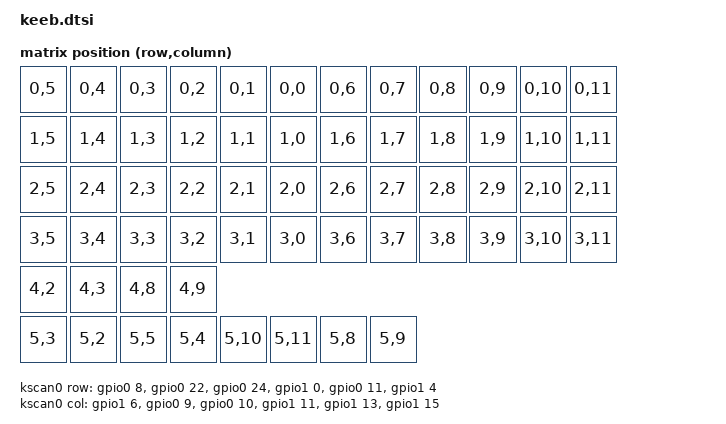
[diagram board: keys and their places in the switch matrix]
#include <dt-bindings/gpio/gpio.h>
#include <dt-bindings/pinctrl/nrf-pinctrl.h>
#include <dt-bindings/pwm/pwm.h>
#include <dt-bindings/regulator/nrf5x.h>
#include <dt-bindings/zmk/matrix_transform.h>

#include <keeb-positions.dtsi>

/ {
	chosen {
		zephyr,display = &nice_view;
		zmk,kscan = &kscan0;
		zmk,matrix-transform = &default_transform;
    zmk,battery = &vbatt;
	};

    vbatt: vbatt {
        compatible = "zmk,battery-nrf-vddh";
        label = "BATTERY";
    };

	default_transform: keymap_transform_0 {
		compatible = "zmk,matrix-transform";
		columns = <12>;
		rows = <6>;
		/* Key positions are named in dts/keeb-positions.dtsi; this map is what
		 * defines those numbers, so keep the two in step - app/scripts/gen-contract.mjs
		 * checks every named group against this map, so a name that stops matching
		 * the wiring fails the build instead of silently rebinding another key.
		 *
		 * A row's line may list fewer than 12 entries: an unlisted grid slot has no
		 * switch and no keymap position. Each keymap layer must carry exactly as many
		 * bindings as this map has RC() entries (ZMK_KEYMAP_LEN, see matrix.h).
		 * Global columns: left half 0-5, right half 6-11 (keeb_right.overlay adds
		 * col-offset 6). Each half numbers its own columns 0-5 the same way, so a
		 * key's mirror on the other half is the same local column: global c on the
		 * left, c+6 on the right. Every row here obeys that - alpha 0-5, the extras
		 * 2-3, the thumb cluster 2-5, on both halves.
		 *   rows 0-3   full alpha grid, both halves
		 *   row  4     2 extra keys per half, local cols 2-3
		 *   row  5     thumb cluster, local cols 2-5
		 * Board column numbering grows toward the split on the left half and away
		 * from it on the right: left positions 0-5 map to cols 5-0 (outer key at
		 * position 0, col 5; the key next to the split, position 5, col 0), right
		 * positions 6-11 map to cols 6-11 (position 6, col 6, next to the split,
		 * position 11, col 11, outermost). The keymap drawing therefore reads
		 * left-to-right across the board: position 0 far left, 6 the right half's
		 * innermost key, 11 far right. Reversing a half's columns here mirrors that
		 * half on the board and in the configurator while keeping the mirror checks
		 * happy - the position sets stay the same, only the order of the keys
		 * changes. */
		map = <
			RC(0,5) RC(0,4) RC(0,3) RC(0,2) RC(0,1) RC(0,0)   RC(0,6) RC(0,7) RC(0,8)  RC(0,9)  RC(0,10) RC(0,11)
			RC(1,5) RC(1,4) RC(1,3) RC(1,2) RC(1,1) RC(1,0)   RC(1,6) RC(1,7) RC(1,8)  RC(1,9)  RC(1,10) RC(1,11)
			RC(2,5) RC(2,4) RC(2,3) RC(2,2) RC(2,1) RC(2,0)   RC(2,6) RC(2,7) RC(2,8)  RC(2,9)  RC(2,10) RC(2,11)
			RC(3,5) RC(3,4) RC(3,3) RC(3,2) RC(3,1) RC(3,0)   RC(3,6) RC(3,7) RC(3,8)  RC(3,9)  RC(3,10) RC(3,11)
			RC(4,2) RC(4,3)   RC(4,8) RC(4,9)
			RC(5,3) RC(5,2) RC(5,5) RC(5,4)   RC(5,10) RC(5,11) RC(5,8) RC(5,9)
		>;
	};

kscan0: kscan {
		compatible = "zmk,kscan-gpio-matrix";
		diode-direction = "col2row";
		wakeup-source;
		row-gpios =
			<&gpio0  8 (GPIO_ACTIVE_HIGH | GPIO_PULL_DOWN)>,  /* D0  */
			<&gpio0 22 (GPIO_ACTIVE_HIGH | GPIO_PULL_DOWN)>,  /* D4  */
			<&gpio0 24 (GPIO_ACTIVE_HIGH | GPIO_PULL_DOWN)>,  /* D5  */
			<&gpio1  0 (GPIO_ACTIVE_HIGH | GPIO_PULL_DOWN)>,  /* D6  */
			<&gpio0 11 (GPIO_ACTIVE_HIGH | GPIO_PULL_DOWN)>,  /* D7  */
			<&gpio1  4 (GPIO_ACTIVE_HIGH | GPIO_PULL_DOWN)>;  /* D8  */
		col-gpios =
			<&gpio1  6 GPIO_ACTIVE_HIGH>,  /* D9  */
			<&gpio0  9 GPIO_ACTIVE_HIGH>,  /* D10 */
			<&gpio0 10 GPIO_ACTIVE_HIGH>,  /* D16 */
			<&gpio1 11 GPIO_ACTIVE_HIGH>,  /* D14 */
			<&gpio1 13 GPIO_ACTIVE_HIGH>,  /* D15 */
			<&gpio1 15 GPIO_ACTIVE_HIGH>;  /* D18 */
	};

status_leds: status_leds {
		compatible = "pwm-leds";

		led_r: led_r {
			/* instance channel, period, polarity (common cathode -> active high) */
			pwms = <&pwm1 0 PWM_USEC(2000) PWM_POLARITY_NORMAL>;  /* D19/A1 = P0.02 */
		};
		led_g: led_g {
			pwms = <&pwm1 1 PWM_USEC(2000) PWM_POLARITY_NORMAL>;  /* D20/A2 = P0.29 */
		};
		led_b: led_b {
			pwms = <&pwm1 2 PWM_USEC(2000) PWM_POLARITY_NORMAL>;  /* D21/A3 = P0.31 */
		};
	};

	status_led_device: status_led_device {
		compatible = "zmk,status-led";
		led-r = <&led_r>;
		led-g = <&led_g>;
		led-b = <&led_b>;
	};

	behaviors {
	layer_art: la {
			compatible = "keeb,layer-art";
			#binding-cells = <1>;
			display-name = "Layer Art";
		};

		/* Not a key: nothing in the keymap or in the engine's token list
		 * references it. The central invokes this behaviour so the other half
		 * applies the same idle/sleep timeouts it just applied to itself - see
		 * settings/behavior_keeb_timeouts.c. Its name is the string the split
		 * payload carries, so it stays under 16 bytes. */
		/* Neither is this one: the central invokes it once a second so the
		 * other half's panel can show what only the central knows - typing
		 * rate, active BLE profile, host link signal. param1 = words per
		 * minute, param2 = profile index | count << 8 | rssi % << 16
		 * (see ui/layer_sync.c for the packing).
		 *
		 * The node name is the string the split payload carries and that
		 * payload has room for 8 characters (ZMK_SPLIT_RUN_BEHAVIOR_DEV_LEN
		 * is 9, NUL included) - "keeb_stat" was silently truncated to
		 * "keeb_sta" and every push was refused. Keep it short. */
		uistat: uistat {
			compatible = "keeb,ui-stat";
			#binding-cells = <2>;
			display-name = "UI Stat";
		};

		keeb_tmo: keeb_tmo {
			compatible = "keeb,timeouts";
			#binding-cells = <0>;
		};

		/* Not a key either: the central invokes it to ship the other half's
		 * panel table, two 32-bit words per invocation (ui/panel_stream.h).
		 * The node name is the string the split payload carries, so keep it
		 * short - the label is allowed to be longer than the name. */
		panel_relay: panel {
			compatible = "keeb,panel";
			#binding-cells = <2>;
		};

	right_reset: right_reset {
			compatible = "keeb,remote-reset";
			target = <&sys_reset>;
			#binding-cells = <0>;
			display-name = "Right Half Reset";
		};

		right_boot: right_boot {
			compatible = "keeb,remote-reset";
			target = <&bootloader>;
			#binding-cells = <0>;
			display-name = "Right Half Bootloader";
		};

	buzzer_reset: buzzer_reset {
			compatible = "zmk,behavior-buzzer";
			target = <&sys_reset>;
			#binding-cells = <0>;
			display-name = "Buzz Then Reset";
		};

		buzzer_boot: buzzer_boot {
			compatible = "zmk,behavior-buzzer";
			target = <&bootloader>;
			tune = "bootloader";
			#binding-cells = <0>;
			display-name = "Buzz Then Bootloader";
		};
	};
};

&pinctrl {
	status_led_pwm_default: status_led_pwm_default {
		group1 {
			psels = <NRF_PSEL(PWM_OUT0, 0, 2)>,   /* R  D19/A1 = P0.02 */
				<NRF_PSEL(PWM_OUT1, 0, 29)>,  /* G  D20/A2 = P0.29 */
				<NRF_PSEL(PWM_OUT2, 0, 31)>;  /* B  D21/A3 = P0.31 */
		};
	};

	status_led_pwm_sleep: status_led_pwm_sleep {
		group1 {
			psels = <NRF_PSEL(PWM_OUT0, 0, 2)>,
				<NRF_PSEL(PWM_OUT1, 0, 29)>,
				<NRF_PSEL(PWM_OUT2, 0, 31)>;
			low-power-enable;
		};
	};
};

&pwm1 {
	status = "okay";
	pinctrl-0 = <&status_led_pwm_default>;
	pinctrl-1 = <&status_led_pwm_sleep>;
	pinctrl-names = "default", "sleep";
};

&uart0 {
	status = "disabled";
};

&i2c0 {
	status = "disabled";
};

&adc {
	status = "okay";
};

&zephyr_udc0 {
	board_cdc_acm_uart: board_cdc_acm_uart {
		compatible = "zephyr,cdc-acm-uart";
	};
};

/ {
	chosen {
		zephyr,console = &board_cdc_acm_uart;
		zephyr,shell-uart = &board_cdc_acm_uart;
	};
};

&reg0 {
	status = "disabled";
};

&reg1 {
	regulator-initial-mode = <NRF5X_REG_MODE_LDO>;
};

&pinctrl {
	spi0_default: spi0_default {
		group1 {
			psels = <NRF_PSEL(SPIM_SCK, 0, 20)>,
				<NRF_PSEL(SPIM_MOSI, 0, 17)>,
				<NRF_PSEL(SPIM_MISO, 0, 25)>;
		};
	};

	spi0_sleep: spi0_sleep {
		group1 {
			psels = <NRF_PSEL(SPIM_SCK, 0, 20)>,
				<NRF_PSEL(SPIM_MOSI, 0, 17)>,
				<NRF_PSEL(SPIM_MISO, 0, 25)>;
			low-power-enable;
		};
	};
};

nice_view_spi: &spi0 {
	compatible = "nordic,nrf-spim";
	status = "okay";
	pinctrl-0 = <&spi0_default>;
	pinctrl-1 = <&spi0_sleep>;
	pinctrl-names = "default", "sleep";
	/* LS0xx chip select is active-high (XS: L = disabled, H = enabled),
	 * which is also what ZMK's nice_view_adapter uses. */
	cs-gpios = <&gpio0 6 GPIO_ACTIVE_HIGH>;  /* D1 */

	nice_view: ls0xx@0 {
		compatible = "sharp,ls0xx";
		status = "okay";
		reg = <0>;
		spi-max-frequency = <1000000>;
		width = <160>;
		height = <68>;
		serial-vcom-inversion;
		serial-vcom-interval = <33>;
	};
};
/ {
	keeb_engine: engine {
		compatible = "keeb,engine";
   	tokens = <
			&kp &trans &none
			&mo &to &tog &lt &mt
			&sk &sl &kt &gresc &key_repeat &caps_word
			&bt &out &sys_reset &bootloader
			&bl &rgb_ug
			&mmv &msc &mkp
			&hml &hmr
			&layer_art &right_reset &right_boot
		>;

		reserved-positions = <KEEB_POS_L_TOP_0 KEEB_POS_R_TOP_0>;
		revert-hold-ms = <3000>;
	};
};
